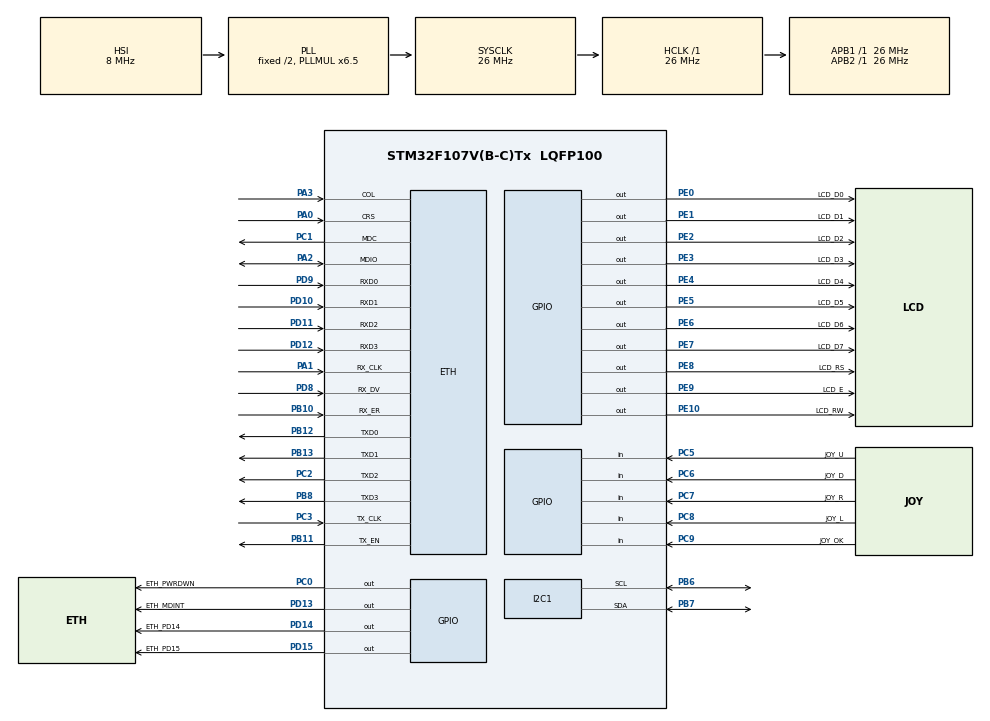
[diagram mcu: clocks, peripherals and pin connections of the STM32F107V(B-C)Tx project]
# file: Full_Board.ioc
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FREERTOS.BinarySemaphores01=TemperatureSemaphore
FREERTOS.Mutexes01=LCDRefreshMutex
FREERTOS.Queues01=TempSensorQueue,16,uint16_t,NULL
FREERTOS.Tasks01=defaultTask,0,128,StartDefaultTask,Default;vEthernet_Task,0,128,StartEthernetTask,Default;TempSensor_Task,-2,128,StartTempSensor,Default;LCD_Task,-1,128,StartLCDTask,Default;Controller_Task,1,128,StartControllerTask,Default
LWIP.Version=v1.4.1_Cube
Mcu.Family=STM32F1
Mcu.Name=STM32F107V(B-C)Tx
Mcu.Package=LQFP100
NVIC.ETH_IRQn=true\:5\:0\:false\:false\:true\:true
NVIC.PriorityGroup=NVIC_PRIORITYGROUP_4
NVIC.TIM1_UP_IRQn=true\:0\:0\:false\:false\:true\:false
NVIC.TimeBase=TIM1_UP_IRQn
NVIC.TimeBaseIP=TIM1
PA0-WKUP.Mode=MII
PA0-WKUP.Signal=ETH_CRS
PA1.Mode=MII
PA1.Signal=ETH_RX_CLK
PA13.Mode=Serial_Wire
PA13.Signal=SYS_JTMS-SWDIO
PA14.Mode=Serial_Wire
PA14.Signal=SYS_JTCK-SWCLK
PA2.Mode=MII
PA2.Signal=ETH_MDIO
PA3.Mode=MII
PA3.Signal=ETH_COL
PB10.Mode=Activate Rx Err signal
PB10.Signal=ETH_RX_ER
PB11.Mode=MII
PB11.Signal=ETH_TX_EN
PB12.Mode=MII
PB12.Signal=ETH_TXD0
PB13.Mode=MII
PB13.Signal=ETH_TXD1
PB6.Mode=I2C
PB6.Signal=I2C1_SCL
PB7.Mode=I2C
PB7.Signal=I2C1_SDA
PB8.Mode=MII
PB8.Signal=ETH_TXD3
PC0.GPIO_Label=ETH_PWRDWN
PC0.Signal=GPIO_Output
PC1.Mode=MII
PC1.Signal=ETH_MDC
PC2.Mode=MII
PC2.Signal=ETH_TXD2
PC3.Mode=MII
PC3.Signal=ETH_TX_CLK
PC5.GPIO_Label=JOY_U
PC5.Signal=GPIO_Input
PC6.GPIO_Label=JOY_D
PC6.Signal=GPIO_Input
PC7.GPIO_Label=JOY_R
PC7.Signal=GPIO_Input
PC8.GPIO_Label=JOY_L
PC8.Signal=GPIO_Input
PC9.GPIO_Label=JOY_OK
PC9.Signal=GPIO_Input
PD10.Mode=MII
PD10.Signal=ETH_RXD1
PD11.Mode=MII
PD11.Signal=ETH_RXD2
PD12.Mode=MII
PD12.Signal=ETH_RXD3
PD13.GPIO_Label=ETH_MDINT
PD13.Signal=GPIO_Output
PD14.GPIO_Label=ETH_PD14
PD14.Signal=GPIO_Output
PD15.GPIO_Label=ETH_PD15
PD15.Signal=GPIO_Output
PD8.Mode=MII
PD8.Signal=ETH_RX_DV
PD9.Mode=MII
PD9.Signal=ETH_RXD0
PE0.GPIO_Label=LCD_D0
PE0.Signal=GPIO_Output
PE1.GPIO_Label=LCD_D1
PE1.Signal=GPIO_Output
PE10.GPIO_Label=LCD_RW
PE10.Signal=GPIO_Output
PE2.GPIO_Label=LCD_D2
PE2.Signal=GPIO_Output
PE3.GPIO_Label=LCD_D3
PE3.Signal=GPIO_Output
PE4.GPIO_Label=LCD_D4
PE4.Signal=GPIO_Output
PE5.GPIO_Label=LCD_D5
PE5.Signal=GPIO_Output
PE6.GPIO_Label=LCD_D6
PE6.Signal=GPIO_Output
PE7.GPIO_Label=LCD_D7
PE7.Signal=GPIO_Output
PE8.GPIO_Label=LCD_RS
PE8.Signal=GPIO_Output
PE9.GPIO_Label=LCD_E
PE9.Signal=GPIO_Output
ProjectManager.HeapSize=0x200
ProjectManager.StackSize=0x400
ProjectManager.TargetToolchain=TrueSTUDIO
RCC.AHBFreq_Value=26000000
RCC.APB1Freq_Value=26000000
RCC.APB1TimFreq_Value=26000000
RCC.APB2Freq_Value=26000000
RCC.APB2TimFreq_Value=26000000
RCC.HCLKFreq_Value=26000000
RCC.PLLMUL=RCC_PLL_MUL6_5
RCC.SYSCLKFreq_VALUE=26000000
RCC.SYSCLKSource=RCC_SYSCLKSOURCE_PLLCLK
RCC.USBFreq_Value=17333333.333333332
VP_FREERTOS_VS_ENABLE.Mode=Enabled
VP_LWIP_VS_Enabled.Mode=Enabled
VP_SYS_VS_tim1.Mode=TIM1
board=Full_Board

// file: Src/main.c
/**
  ******************************************************************************
  * File Name          : main.c
  * Description        : Main program body
  ******************************************************************************
  *
  * COPYRIGHT(c) 2017 STMicroelectronics
  *
  * Redistribution and use in source and binary forms, with or without modification,
  * are permitted provided that the following conditions are met:
  *   1. Redistributions of source code must retain the above copyright notice,
  *      this list of conditions and the following disclaimer.
  *   2. Redistributions in binary form must reproduce the above copyright notice,
  *      this list of conditions and the following disclaimer in the documentation
  *      and/or other materials provided with the distribution.
  *   3. Neither the name of STMicroelectronics nor the names of its contributors
  *      may be used to endorse or promote products derived from this software
  *      without specific prior written permission.
  *
  * THIS SOFTWARE IS PROVIDED BY THE COPYRIGHT HOLDERS AND CONTRIBUTORS "AS IS"
  * AND ANY EXPRESS OR IMPLIED WARRANTIES, INCLUDING, BUT NOT LIMITED TO, THE
  * IMPLIED WARRANTIES OF MERCHANTABILITY AND FITNESS FOR A PARTICULAR PURPOSE ARE
  * DISCLAIMED. IN NO EVENT SHALL THE COPYRIGHT HOLDER OR CONTRIBUTORS BE LIABLE
  * FOR ANY DIRECT, INDIRECT, INCIDENTAL, SPECIAL, EXEMPLARY, OR CONSEQUENTIAL
  * DAMAGES (INCLUDING, BUT NOT LIMITED TO, PROCUREMENT OF SUBSTITUTE GOODS OR
  * SERVICES; LOSS OF USE, DATA, OR PROFITS; OR BUSINESS INTERRUPTION) HOWEVER
  * CAUSED AND ON ANY THEORY OF LIABILITY, WHETHER IN CONTRACT, STRICT LIABILITY,
  * OR TORT (INCLUDING NEGLIGENCE OR OTHERWISE) ARISING IN ANY WAY OUT OF THE USE
  * OF THIS SOFTWARE, EVEN IF ADVISED OF THE POSSIBILITY OF SUCH DAMAGE.
  *
  ******************************************************************************
  */
#include "stm32f1xx_hal.h"
#include "cmsis_os.h"
#include "i2c.h"
#include "gpio.h"

/* USER CODE BEGIN PV */
/* Private variables ---------------------------------------------------------*/

/* USER CODE END PV */

void SystemClock_Config(void);
void Error_Handler(void);
void MX_FREERTOS_Init(void);

/* USER CODE BEGIN PFP */
/* Private function prototypes -----------------------------------------------*/

/* USER CODE END PFP */

int main(void)
{

  /* USER CODE BEGIN 1 */

  //TRACE
  vTraceInitTraceData();

  /* USER CODE END 1 */

  /* MCU Configuration----------------------------------------------------------*/

  /* Reset of all peripherals, Initializes the Flash interface and the Systick. */
  HAL_Init();

  /* Configure the system clock */
  SystemClock_Config();

  /* Initialize all configured peripherals */
  MX_GPIO_Init();
  MX_I2C1_Init();

  /* Call init function for freertos objects (in freertos.c) */
  MX_FREERTOS_Init();

  /* Start scheduler */
  osKernelStart();

  /* We should never get here as control is now taken by the scheduler */

  /* Infinite loop */
  while (1)
  {

  }

}

/** System Clock Configuration
*/
void SystemClock_Config(void)
{

  RCC_OscInitTypeDef RCC_OscInitStruct;
  RCC_ClkInitTypeDef RCC_ClkInitStruct;

  RCC_OscInitStruct.OscillatorType = RCC_OSCILLATORTYPE_HSI;
  RCC_OscInitStruct.HSIState = RCC_HSI_ON;
  RCC_OscInitStruct.HSICalibrationValue = 16;
  RCC_OscInitStruct.Prediv1Source = RCC_PREDIV1_SOURCE_HSE;
  RCC_OscInitStruct.PLL.PLLState = RCC_PLL_ON;
  RCC_OscInitStruct.PLL.PLLSource = RCC_PLLSOURCE_HSI_DIV2;
  RCC_OscInitStruct.PLL.PLLMUL = RCC_PLL_MUL6_5;
  RCC_OscInitStruct.PLL2.PLL2State = RCC_PLL_NONE;
  if (HAL_RCC_OscConfig(&RCC_OscInitStruct) != HAL_OK)
  {
    Error_Handler();
  }

  RCC_ClkInitStruct.ClockType = RCC_CLOCKTYPE_HCLK|RCC_CLOCKTYPE_SYSCLK
                              |RCC_CLOCKTYPE_PCLK1|RCC_CLOCKTYPE_PCLK2;
  RCC_ClkInitStruct.SYSCLKSource = RCC_SYSCLKSOURCE_PLLCLK;
  RCC_ClkInitStruct.AHBCLKDivider = RCC_SYSCLK_DIV1;
  RCC_ClkInitStruct.APB1CLKDivider = RCC_HCLK_DIV1;
  RCC_ClkInitStruct.APB2CLKDivider = RCC_HCLK_DIV1;
  if (HAL_RCC_ClockConfig(&RCC_ClkInitStruct, FLASH_LATENCY_1) != HAL_OK)
  {
    Error_Handler();
  }

  HAL_SYSTICK_Config(HAL_RCC_GetHCLKFreq()/1000);

  HAL_SYSTICK_CLKSourceConfig(SYSTICK_CLKSOURCE_HCLK);

  __HAL_RCC_PLLI2S_ENABLE();

  /* SysTick_IRQn interrupt configuration */
  HAL_NVIC_SetPriority(SysTick_IRQn, 15, 0);
}

void HAL_TIM_PeriodElapsedCallback(TIM_HandleTypeDef *htim)
{
  if (htim->Instance == TIM1) {
    HAL_IncTick();
  }
}

void Error_Handler(void)
{
  while(1)
  {
  }
}

/************************ (C) COPYRIGHT STMicroelectronics *****END OF FILE****/

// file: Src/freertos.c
/**
 ******************************************************************************
 * File Name          : freertos.c
 * Description        : Code for freertos applications
 ******************************************************************************
 *
 * COPYRIGHT(c) 2017 STMicroelectronics
 *
 * Redistribution and use in source and binary forms, with or without modification,
 * are permitted provided that the following conditions are met:
 *   1. Redistributions of source code must retain the above copyright notice,
 *      this list of conditions and the following disclaimer.
 *   2. Redistributions in binary form must reproduce the above copyright notice,
 *      this list of conditions and the following disclaimer in the documentation
 *      and/or other materials provided with the distribution.
 *   3. Neither the name of STMicroelectronics nor the names of its contributors
 *      may be used to endorse or promote products derived from this software
 *      without specific prior written permission.
 *
 * THIS SOFTWARE IS PROVIDED BY THE COPYRIGHT HOLDERS AND CONTRIBUTORS "AS IS"
 * AND ANY EXPRESS OR IMPLIED WARRANTIES, INCLUDING, BUT NOT LIMITED TO, THE
 * IMPLIED WARRANTIES OF MERCHANTABILITY AND FITNESS FOR A PARTICULAR PURPOSE ARE
 * DISCLAIMED. IN NO EVENT SHALL THE COPYRIGHT HOLDER OR CONTRIBUTORS BE LIABLE
 * FOR ANY DIRECT, INDIRECT, INCIDENTAL, SPECIAL, EXEMPLARY, OR CONSEQUENTIAL
 * DAMAGES (INCLUDING, BUT NOT LIMITED TO, PROCUREMENT OF SUBSTITUTE GOODS OR
 * SERVICES; LOSS OF USE, DATA, OR PROFITS; OR BUSINESS INTERRUPTION) HOWEVER
 * CAUSED AND ON ANY THEORY OF LIABILITY, WHETHER IN CONTRACT, STRICT LIABILITY,
 * OR TORT (INCLUDING NEGLIGENCE OR OTHERWISE) ARISING IN ANY WAY OUT OF THE USE
 * OF THIS SOFTWARE, EVEN IF ADVISED OF THE POSSIBILITY OF SUCH DAMAGE.
 *
 ******************************************************************************
 */

#include "FreeRTOS.h"
#include "task.h"
#include "cmsis_os.h"
#include "gpio.h"
#include "i2c.h"
//#include "lwip.h"
//#include "lwip/debug.h"
//#include "lwip/stats.h"
//#include "lwip/tcp.h"
#include "SEGGER_RTT.h"
#include "trcUser.h"
#include "l3g4200d_driver.h"

#include "FreeRTOS_sockets.h"
#include "FreeRTOSIPConfigDefaults.h"

osThreadId defaultTaskHandle;
osThreadId vEthernet_TaskHandle;
osThreadId TempSensor_TaskHandle;
osThreadId GyroSensor_TaskHandle;
osThreadId LCD_TaskHandle;
osThreadId Controller_TaskHandle;
osMessageQId TempSensorQueueHandle;
osMessageQId PingQueueHandle;
osMessageQId ErrorMessageQueueHandle;
osMutexId LCDRefreshMutexHandle;
osSemaphoreId TemperatureSemaphoreHandle;

void StartDefaultTask(void const * argument);
void StartEthernetTask(void const * argument);
void StartTempSensor(void const * argument);
void StartGyroSensor(void const * argument);
void StartLCDTask(void const * argument);
void StartControllerTask(void const * argument);

void GLCD_Initialize(void);
void GLCD_ClearScreen(void);
void GLCD_GoTo(unsigned char, unsigned char);
void GLCD_WriteString(char *);

uint32_t uiTraceStart(void);
uint32_t uiTraceStop(void);

BaseType_t FreeRTOS_IPInit( const uint8_t *, const uint8_t *, const uint8_t *, const uint8_t *, const uint8_t * );

/*TCP IP*/
extern struct netif gnetif;
extern BaseType_t xNetworkInterfaceInitialise( void );
BaseType_t vSendPing( const char * pcIPAddress );

extern void MX_LWIP_Init(void);
void MX_FREERTOS_Init(void); /* (MISRA C 2004 rule 8.1) */

/*MCP Registers*/
#define TEMPERATURE_REG_TEMP      0x00  // Temperatur register
#define TEMPERATURE_REG_CONFIG      0x01  // Configuration register
#define TEMPERATURE_REG_HYSTERISIS    0x02  // Temperature Hysteresis register
#define TEMPERATURE_REG_LIMIT     0x03  // Temperature Limit-set register

/*Config bits*/
#define TEMPERATURE_CONFIG_ONE_SHOT   0x07  // One shot enabled/disabled. Disabled by default
#define TEMPERATURE_CONFIG_ADC_RES    0x05  // ADC resolution: 00 = 9bit (0.5c), 01 = 10bit (0.25c), 10 = 11bit (0.125c), 11 = 12bit (0.0625c)
#define TEMPERATURE_CONFIG_FAULT_QUEUE  0x03  // Fault queue bits, 00 = 1 (default), 01 = 2, 10 = 4, 11 = 6
#define TEMPERATURE_CONFIG_ALERT_POL  0x04  // Alert polarity (high/low). Default low
#define TEMPERATURE_CONFIG_COMP_INT   0x03  // 1 = Interrupt mode, 0 = Comparator mode (default)
#define TEMPERATURE_CONFIG_SHUTDOWN 0x02 // 1 = Enable shutdown, 0 = Disable shutdown (default)

#define TEMPERATURE_DEVICE_ADDRESS ( 0x48 << 1 )

#define TEMPERATURE_SENSOR_ERROR 1001

/* Hook prototypes */

/* Init FreeRTOS */

void MX_FREERTOS_Init(void) {

	/* Create the mutex(es) */
	/* definition and creation of LCDRefreshMutex */
	//In xQueueGenericCreate was commented out configASSERT
	osMutexDef(LCDRefreshMutex);
	LCDRefreshMutexHandle = osMutexCreate(osMutex(LCDRefreshMutex));

	/* Create the semaphores(s) */
	/* definition and creation of TemperatureSemaphore */
	//osSemaphoreDef(TemperatureSemaphore);
	//TemperatureSemaphoreHandle = osSemaphoreCreate(osSemaphore(TemperatureSemaphore), 1);

	/* Create the thread(s) */
	/* definition and creation of defaultTask */
	//osThreadDef(defaultTask, StartDefaultTask, osPriorityNormal, 0, 128); //osPriorityNormal
	//defaultTaskHandle = osThreadCreate(osThread(defaultTask), NULL);

	/* definition and creation of vEthernet_Task */
	//osThreadDef(vEthernet_Task, StartEthernetTask, osPriorityNormal, 0, 128);
	//vEthernet_TaskHandle = osThreadCreate(osThread(vEthernet_Task), NULL);

	/* definition and creation of TempSensor_Task */
	osThreadDef(TempSensor_Task, StartTempSensor, osPriorityLow, 0, 128); //osPriorityLow
	TempSensor_TaskHandle = osThreadCreate(osThread(TempSensor_Task), NULL);

	/* definition and creation of Gyro */
	osThreadDef(GyroSensor_Task, StartGyroSensor, osPriorityLow, 0, 128); //osPriorityLow
	GyroSensor_TaskHandle = osThreadCreate(osThread(GyroSensor_Task), NULL);

	/* definition and creation of LCD_Task */
	osThreadDef(LCD_Task, StartLCDTask, osPriorityNormal, 0, 128); //osPriorityBelowNormal
	LCD_TaskHandle = osThreadCreate(osThread(LCD_Task), NULL);

	/* definition and creation of Controller_Task */
	//osThreadDef(Controller_Task, StartControllerTask, osPriorityNormal, 0,
	//		128); //osPriorityAboveNormal
	//Controller_TaskHandle = osThreadCreate(osThread(Controller_Task), NULL);

	/* Create the queue(s) */
	/* definition and creation of TempSensorQueue */
	osMessageQDef(TempSensorQueue, 16, uint16_t);
	TempSensorQueueHandle = osMessageCreate(osMessageQ(TempSensorQueue), NULL);

	osMessageQDef(ErrorMessageQueue, 16, uint16_t);
	ErrorMessageQueueHandle = osMessageCreate(osMessageQ(ErrorMessageQueue),
			NULL);

}

/* The default IP and MAC address used by the demo.  The address configuration
defined here will be used if ipconfigUSE_DHCP is 0, or if ipconfigUSE_DHCP is
1 but a DHCP server could not be contacted.  See the online documentation for
more information.  http://www.FreeRTOS.org/tcp */
const uint8_t ucIPAddress[ 4 ] = { 192, 168, 76, 230 };
const uint8_t ucNetMask[ 4 ] = { 255, 255, 255, 0 };
const uint8_t ucGatewayAddress[ 4 ] = { 192, 168, 76, 1 };
const uint8_t ucDNSServerAddress[ 4 ] = {192, 168, 76, 1};

/* Default MAC address configuration. */
const uint8_t ucMACAddress[ 6 ] = { 0, 0, 0x81, 0xe1, 0, 0 };

/* StartDefaultTask function */
void StartDefaultTask(void const * argument) {

	/* USER CODE BEGIN StartDefaultTask */
	/* init code for LWIP */

	uiTraceStart();
	 //FreeRTOS_IPInit( ucIPAddress, ucNetMask, ucGatewayAddress, ucDNSServerAddress, ucMACAddress );
	 //MX_LWIP_Init();

	SEGGER_RTT_WriteString(0,"LWIP INIT\r\n");

	/* Infinite loop */
	for (;;) {
		osDelay(1);
	}
	/* USER CODE END StartDefaultTask */
}

/* StartEthernetTask function */
void StartEthernetTask(void const * argument) {
	for (;;) {
		osDelay(1);
	}
}

uint8_t temperatureSensorExecute(uint8_t config, uint32_t timeout,
		osMutexId LCDRefreshMutexHandle, osMessageQId ErrorMessageQueueHandle,
		osMessageQId TempSensorQueueHandle, uint8_t* temperature) {

	/* LOCK writing */
	osMutexWait(LCDRefreshMutexHandle, osWaitForever);

	HAL_GPIO_WritePin(LED_1_Pin_GPIO_Port, LED_1_Pin, GPIO_PIN_RESET);

	HAL_I2C_Mem_Write(&hi2c1, TEMPERATURE_DEVICE_ADDRESS, TEMPERATURE_REG_CONFIG,
			sizeof(uint8_t), &config, sizeof(config), timeout);
	HAL_I2C_Mem_Read(&hi2c1, TEMPERATURE_DEVICE_ADDRESS, TEMPERATURE_REG_TEMP,
			sizeof(uint8_t), &config, sizeof(config), timeout);
	config &= ~(1 << TEMPERATURE_CONFIG_SHUTDOWN);
	config |= (1 << TEMPERATURE_CONFIG_SHUTDOWN);
	HAL_I2C_Mem_Write(&hi2c1, TEMPERATURE_DEVICE_ADDRESS, TEMPERATURE_REG_CONFIG,
			sizeof(uint8_t), &config, sizeof(config), timeout);
	config = 0;
	HAL_I2C_Mem_Write(&hi2c1, TEMPERATURE_DEVICE_ADDRESS, TEMPERATURE_REG_CONFIG,
			sizeof(uint8_t), &config, sizeof(config), timeout);
	HAL_I2C_Mem_Read(&hi2c1, TEMPERATURE_DEVICE_ADDRESS, TEMPERATURE_REG_TEMP,
			sizeof(uint8_t), &config, sizeof(config), timeout);
	config &= ~(1 << TEMPERATURE_CONFIG_ONE_SHOT);
	config |= (1 << TEMPERATURE_CONFIG_ONE_SHOT);
	HAL_I2C_Mem_Write(&hi2c1, TEMPERATURE_DEVICE_ADDRESS, TEMPERATURE_REG_CONFIG,
			sizeof(uint8_t), &config, sizeof(config), timeout);
	HAL_I2C_Mem_Read(&hi2c1, TEMPERATURE_DEVICE_ADDRESS, TEMPERATURE_REG_TEMP,
			sizeof(uint8_t), &*temperature, sizeof(*temperature), timeout);

		if (hi2c1.ErrorCode != 0) {
			osMessagePut(ErrorMessageQueueHandle, TEMPERATURE_SENSOR_ERROR, 0);
		} else {
			osMessagePut(TempSensorQueueHandle, 0, 0);
		}

		/* Sent temperature to queue */
		osMessagePut(TempSensorQueueHandle, *temperature, 0);

	HAL_GPIO_WritePin(LED_1_Pin_GPIO_Port, LED_1_Pin, GPIO_PIN_SET);

	/* UNLOCK writing */
	osMutexRelease(LCDRefreshMutexHandle);

	return config;

}

/* StartTempSensor function */
void StartTempSensor(void const * argument) {
	/* USER CODE BEGIN StartTempSensor */
	uint8_t config = 0, temperature = 0;
	uint32_t timeout = 1000;
    //char text_buffer[30];
	/* Infinite loop */
	for (;;) {

		config = temperatureSensorExecute(config, timeout,
				LCDRefreshMutexHandle, ErrorMessageQueueHandle,
				TempSensorQueueHandle, &temperature);

		SEGGER_RTT_WriteString(0, "TEMP\n\r");

		osDelay(5000);

	}
	/* USER CODE END StartTempSensor */
}

/* StartGyroSensor function */
void StartGyroSensor(void const * argument) {
	/* USER CODE BEGIN StartGyroSensor */

	  	  char text_buffer[20];
		  AxesRaw_t data;
		  status_t response;

		  osMutexWait(LCDRefreshMutexHandle, osWaitForever);

		  //set ODR (turn ON device)
		 response = L3G4200D_SetODR(L3G4200D_ODR_95Hz_BW_25);
		 if(response==1){  //debug print response for MKI109V1 board
		        SEGGER_RTT_WriteString(0, "SET_ODR_OK    \n\r");
		   }
		 //set PowerMode
		 response = L3G4200D_SetMode(L3G4200D_NORMAL);
		 if(response==1){  //debug print response for MKI109V1 board
		        SEGGER_RTT_WriteString(0, "SET_MODE_OK    \n\r");
		  }
		 //set Fullscale
		 response = L3G4200D_SetFullScale(L3G4200D_FULLSCALE_250);
		 if(response==1){  //debug print response for MKI109V1 board
		        SEGGER_RTT_WriteString(0, "SET_FULLSCALE_OK    \n\r");
		  }
		 //set axis Enable
		 response = L3G4200D_SetAxis(L3G4200D_X_ENABLE | L3G4200D_Y_ENABLE | L3G4200D_Z_ENABLE);
		 if(response==1){     //debug print response for MKI109V1 board
			 	 SEGGER_RTT_WriteString(0, "SET_AXIS_OK    \n\r");
		 }

		/* UNLOCK writing */
		osMutexRelease(LCDRefreshMutexHandle);

	/* Infinite loop */
	for (;;) {

		/* LOCK writing */
		osMutexWait(LCDRefreshMutexHandle, osWaitForever);

		//get Acceleration Raw data
		  response = L3G4200D_GetAngRateRaw(&data);
		  if(response==1){    //debug print axies value for MKI109V1 board
		    //len = sprintf((char*)buffer, "X=%6d Y=%6d Z=%6d \r\n", data.AXIS_X, data.AXIS_Y, data.AXIS_Z);

		    SEGGER_RTT_WriteString(0, "X:  ");
		    snprintf(text_buffer, 10, "%d", data.AXIS_X);
		    SEGGER_RTT_WriteString(0, text_buffer);
		    SEGGER_RTT_WriteString(0, "   ");

		    SEGGER_RTT_WriteString(0, "Y:  ");
		    snprintf(text_buffer, 10, "%d", data.AXIS_Y);
		   	SEGGER_RTT_WriteString(0, text_buffer);
		   	SEGGER_RTT_WriteString(0, "   ");

		    SEGGER_RTT_WriteString(0, "Z:  ");
		    snprintf(text_buffer, 10, "%d", data.AXIS_Z);
		   	SEGGER_RTT_WriteString(0, text_buffer);
		   	SEGGER_RTT_WriteString(0, "\n\r");

		  }

		  /* UNLOCK writing */
		  osMutexRelease(LCDRefreshMutexHandle);

			osDelay(5000);

	}
	/* USER CODE END StartTempSensor */
}

/* StartLCDTask function */
void StartLCDTask(void const * argument) {
	/* USER CODE BEGIN StartLCDTask */

	//LCD lines 0-7
	char temperature_text[21] = "TEMPERATURE:";
	osEvent message, error_message;
	uint32_t temperature_value;
	GLCD_Initialize();
	GLCD_ClearScreen();

	temperature_text[12] = (char) ' '; // [
	temperature_text[15] = (char) 'C'; // ]

	for (;;) {

		osMutexWait(LCDRefreshMutexHandle, osWaitForever);

		error_message = osMessageGet(ErrorMessageQueueHandle, 0);

		if (error_message.value.v == TEMPERATURE_SENSOR_ERROR) {
			GLCD_GoTo(0, 2);
			GLCD_WriteString("SENSOR ERROR");
		} else {
			GLCD_GoTo(0, 2);
			GLCD_WriteString("SENSOR OK   ");

		}

		message = osMessageGet(TempSensorQueueHandle, 0);
		temperature_value = message.value.v;

		if (temperature_value != 0) {
			temperature_text[13] = (temperature_value / 10) + 0x30;
			temperature_text[14] = (temperature_value % 10) + 0x30;
		}

		osMutexRelease(LCDRefreshMutexHandle);

		GLCD_GoTo(0, 1);
		GLCD_WriteString(temperature_text);

		osDelay(1000);
	}

	/* USER CODE END StartLCDTask */
}

/* StartControllerTask function */
void StartControllerTask(void const * argument) {
	for (;;) {
		osDelay(1);
	}
}

	/* USER CODE END Application */

	/************************ (C) COPYRIGHT STMicroelectronics *****END OF FILE****/
